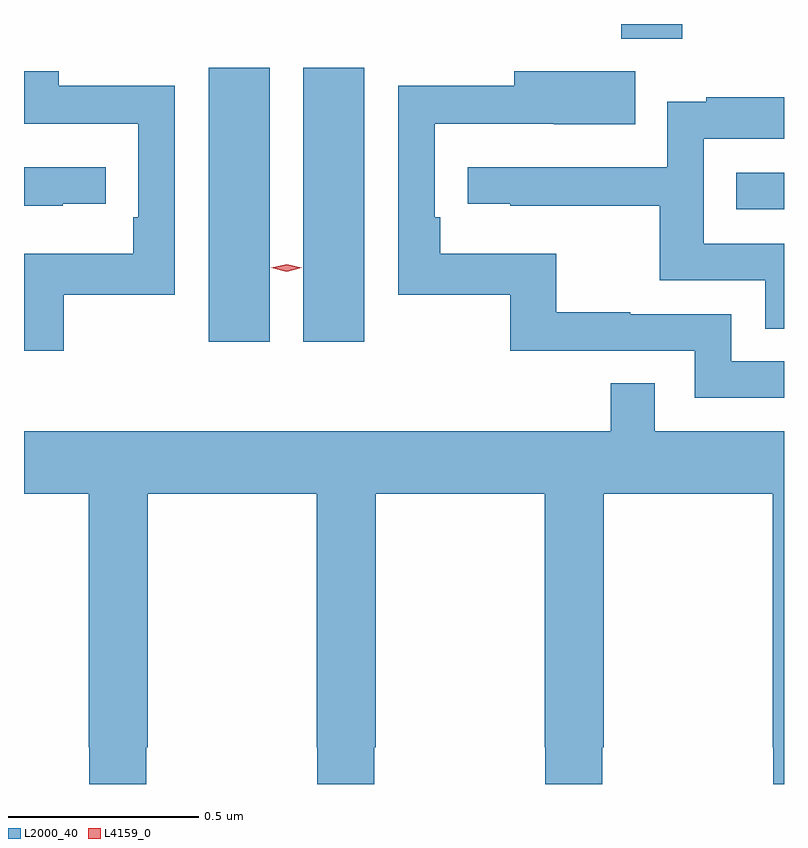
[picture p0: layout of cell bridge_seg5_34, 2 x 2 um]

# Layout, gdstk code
import gdstk
lib = gdstk.Library(unit=1e-6, precision=1e-09)
def R(c, l, rs):  # rectangles x0, y0, x1, y1
    for r in rs: c.add(gdstk.rectangle(r[:2], r[2:], *l))
def P(c, l, *ps):  # polygons
    for p in ps: c.add(gdstk.Polygon(p, *l))
L2000_40 = (2000, 40)
L4159_0 = (4159, 0)

bridge_seg5_34 = lib.new_cell('bridge_seg5_34')
R(bridge_seg5_34, L2000_40, [(996.275,909.108,996.436,909.829), (996.524,909.108,996.685,909.829), (997.663,909.456,997.789,909.552), (997.361,909.905,997.521,909.944)])
P(bridge_seg5_34, L2000_40, [(997.789,909.057),(997.65,909.057),(997.65,909.18),(997.385,909.18),(997.385,909.185),(997.189,909.185),(997.189,909.34),(996.884,909.34),(996.884,909.436),(996.87,909.436),(996.87,909.681),(997.183,909.681),(997.183,909.68),(997.397,909.68),(997.397,909.82),(997.079,909.82),(997.079,909.782),(996.774,909.782),(996.774,909.231),(997.068,909.231),(997.068,909.084),(997.554,909.084),(997.554,908.961),(997.789,908.961)],
  [(995.893,909.231),(996.186,909.231),(996.186,909.782),(995.881,909.782),(995.881,909.82),(995.789,909.82),(995.789,909.681),(996.09,909.681),(996.09,909.436),(996.077,909.436),(996.077,909.34),(995.789,909.34),(995.789,909.084),(995.893,909.084)],
  [(997.789,909.366),(997.578,909.366),(997.578,909.642),(997.789,909.642),(997.789,909.751),(997.585,909.751),(997.585,909.739),(997.482,909.739),(997.482,909.567),(996.957,909.567),(996.957,909.471),(997.069,909.471),(997.069,909.466),(997.462,909.466),(997.462,909.27),(997.739,909.27),(997.739,909.142),(997.789,909.142)],
  [(995.891,909.471),(996.004,909.471),(996.004,909.567),(995.789,909.567),(995.789,909.466),(995.891,909.466)],
  [(996.111,908.041),(996.114,908.041),(996.114,908.708),(996.559,908.708),(996.559,908.041),(996.561,908.041),(996.561,907.944),(996.711,907.944),(996.711,908.041),(996.714,908.041),(996.714,908.708),(997.159,908.708),(997.159,908.041),(997.161,908.041),(997.161,907.944),(997.311,907.944),(997.311,908.041),(997.314,908.041),(997.314,908.708),(997.759,908.708),(997.759,908.041),(997.761,908.041),(997.761,907.944),(997.789,907.944),(997.789,908.872),(997.449,908.872),(997.449,908.999),(997.333,908.999),(997.333,908.872),(995.789,908.872),(995.789,908.708),(995.959,908.708),(995.959,908.041),(995.961,908.041),(995.961,907.944),(996.111,907.944)])
P(bridge_seg5_34, L4159_0, [(996.48,909.292),(996.44,909.302),(996.44,909.302),(996.44,909.302),(996.48,909.312),(996.52,909.302),(996.52,909.302),(996.52,909.302)])

lib.write_gds('bridge_seg5_34.gds')
